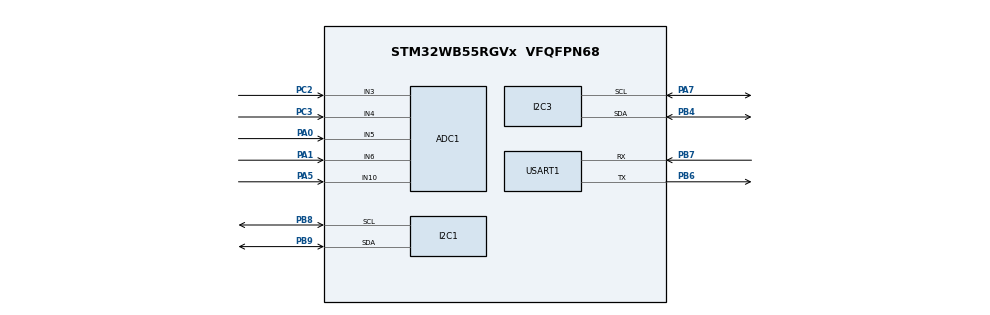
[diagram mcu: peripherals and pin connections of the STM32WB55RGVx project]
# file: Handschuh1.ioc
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ADC1.Channel-0\#ChannelRegularConversion=ADC_CHANNEL_3
ADC1.Channel-1\#ChannelRegularConversion=ADC_CHANNEL_4
ADC1.Channel-2\#ChannelRegularConversion=ADC_CHANNEL_5
ADC1.Channel-3\#ChannelRegularConversion=ADC_CHANNEL_6
ADC1.Channel-4\#ChannelRegularConversion=ADC_CHANNEL_10
ADC1.ClockPrescaler=ADC_CLOCK_ASYNC_DIV128
ADC1.ContinuousConvMode=ENABLE
ADC1.DMAContinuousRequests=ENABLE
ADC1.EOCSelection=ADC_EOC_SEQ_CONV
ADC1.NbrOfConversion=5
ADC1.NbrOfConversionFlag=1
ADC1.OffsetNumber-0\#ChannelRegularConversion=ADC_OFFSET_NONE
ADC1.OffsetNumber-1\#ChannelRegularConversion=ADC_OFFSET_NONE
ADC1.OffsetNumber-2\#ChannelRegularConversion=ADC_OFFSET_NONE
ADC1.OffsetNumber-3\#ChannelRegularConversion=ADC_OFFSET_NONE
ADC1.OffsetNumber-4\#ChannelRegularConversion=ADC_OFFSET_NONE
ADC1.Overrun=ADC_OVR_DATA_OVERWRITTEN
ADC1.Rank-0\#ChannelRegularConversion=1
ADC1.Rank-1\#ChannelRegularConversion=2
ADC1.Rank-2\#ChannelRegularConversion=3
ADC1.Rank-3\#ChannelRegularConversion=4
ADC1.Rank-4\#ChannelRegularConversion=5
ADC1.SamplingTime-0\#ChannelRegularConversion=ADC_SAMPLETIME_640CYCLES_5
ADC1.SamplingTime-1\#ChannelRegularConversion=ADC_SAMPLETIME_640CYCLES_5
ADC1.SamplingTime-2\#ChannelRegularConversion=ADC_SAMPLETIME_640CYCLES_5
ADC1.SamplingTime-3\#ChannelRegularConversion=ADC_SAMPLETIME_640CYCLES_5
ADC1.SamplingTime-4\#ChannelRegularConversion=ADC_SAMPLETIME_640CYCLES_5
ADC1.master=1
Dma.ADC1.0.Direction=DMA_PERIPH_TO_MEMORY
Dma.ADC1.0.EventEnable=DISABLE
Dma.ADC1.0.Instance=DMA1_Channel2
Dma.ADC1.0.MemDataAlignment=DMA_MDATAALIGN_HALFWORD
Dma.ADC1.0.MemInc=DMA_MINC_ENABLE
Dma.ADC1.0.Mode=DMA_CIRCULAR
Dma.ADC1.0.PeriphDataAlignment=DMA_PDATAALIGN_HALFWORD
Dma.ADC1.0.PeriphInc=DMA_PINC_DISABLE
Dma.ADC1.0.Polarity=HAL_DMAMUX_REQ_GEN_RISING
Dma.ADC1.0.Priority=DMA_PRIORITY_LOW
Dma.ADC1.0.RequestNumber=1
Dma.ADC1.0.SignalID=NONE
Dma.ADC1.0.SyncEnable=DISABLE
Dma.ADC1.0.SyncPolarity=HAL_DMAMUX_SYNC_NO_EVENT
Dma.ADC1.0.SyncRequestNumber=1
Dma.ADC1.0.SyncSignalID=NONE
Dma.Request0=ADC1
Dma.Request1=USART1_TX
Dma.USART1_TX.1.Direction=DMA_MEMORY_TO_PERIPH
Dma.USART1_TX.1.EventEnable=DISABLE
Dma.USART1_TX.1.Instance=DMA1_Channel1
Dma.USART1_TX.1.MemDataAlignment=DMA_MDATAALIGN_BYTE
Dma.USART1_TX.1.MemInc=DMA_MINC_ENABLE
Dma.USART1_TX.1.Mode=DMA_NORMAL
Dma.USART1_TX.1.PeriphDataAlignment=DMA_PDATAALIGN_BYTE
Dma.USART1_TX.1.PeriphInc=DMA_PINC_DISABLE
Dma.USART1_TX.1.Polarity=HAL_DMAMUX_REQ_GEN_RISING
Dma.USART1_TX.1.Priority=DMA_PRIORITY_LOW
Dma.USART1_TX.1.RequestNumber=1
Dma.USART1_TX.1.SignalID=NONE
Dma.USART1_TX.1.SyncEnable=DISABLE
Dma.USART1_TX.1.SyncPolarity=HAL_DMAMUX_SYNC_NO_EVENT
Dma.USART1_TX.1.SyncRequestNumber=1
Dma.USART1_TX.1.SyncSignalID=NONE
I2C1.Timing=0x00B07CB4
I2C3.Speed=100
I2C3.Timing=0x00B07CB4
Mcu.Family=STM32WB
Mcu.Name=STM32WB55RGVx
Mcu.Package=VFQFPN68
NVIC.ADC1_IRQn=true\:1\:0\:true\:false\:true\:true\:true\:true
NVIC.DMA1_Channel1_IRQn=true\:15\:0\:true\:false\:true\:false\:true\:true
NVIC.DMA1_Channel2_IRQn=true\:0\:0\:false\:false\:true\:false\:true\:true
NVIC.HSEM_IRQn=true\:0\:0\:false\:false\:true\:false\:true\:true
NVIC.IPCC_C1_RX_IRQn=true\:0\:0\:false\:false\:true\:true\:true\:true
NVIC.IPCC_C1_TX_IRQn=true\:0\:0\:false\:false\:true\:true\:true\:true
NVIC.PriorityGroup=NVIC_PRIORITYGROUP_4
NVIC.RTC_WKUP_IRQn=true\:0\:0\:false\:false\:true\:true\:true\:true
NVIC.USART1_IRQn=true\:0\:0\:true\:false\:true\:true\:true\:true
OSC_IN.Mode=HSE-External-Oscillator
OSC_IN.Signal=RCC_OSC_IN
OSC_OUT.Mode=HSE-External-Oscillator
OSC_OUT.Signal=RCC_OSC_OUT
PA0.Signal=ADCx_IN5
PA1.Signal=ADCx_IN6
PA5.Signal=ADCx_IN10
PA7.Mode=I2C
PA7.Signal=I2C3_SCL
PB4.Mode=I2C
PB4.Signal=I2C3_SDA
PB6.Mode=Asynchronous
PB6.Signal=USART1_TX
PB7.Mode=Asynchronous
PB7.Signal=USART1_RX
PB8.Mode=I2C
PB8.Signal=I2C1_SCL
PB9.Mode=I2C
PB9.Signal=I2C1_SDA
PC2.Signal=ADCx_IN3
PC3.Signal=ADCx_IN4
ProjectManager.HeapSize=0x200
ProjectManager.StackSize=0x400
ProjectManager.TargetToolchain=STM32CubeIDE
RCC.ADCFreq_Value=48000000
RCC.AHBFreq_Value=32000000
RCC.APB1Freq_Value=32000000
RCC.APB1TimFreq_Value=32000000
RCC.APB2Freq_Value=32000000
RCC.APB2TimFreq_Value=32000000
RCC.APB3Freq_Value=16000000
RCC.CortexFreq_Value=32000000
RCC.HCLKFreq_Value=32000000
RCC.HSE_VALUE=32000000
RCC.HSI48_VALUE=48000000
RCC.HSI_VALUE=16000000
RCC.LSE_VALUE=32768
RCC.MSIClockRange=RCC_MSIRANGE_10
RCC.PLLM=RCC_PLLM_DIV2
RCC.PLLSAI1N=6
RCC.SYSCLKFreq_VALUE=32000000
RCC.USBFreq_Value=48000000
RCC.VCOOutputFreq_Value=128000000
RF1.Mode=RF1_Activate
RF1.Signal=RF_RF1
SH.ADCx_IN10.0=ADC1_IN10,IN10-Single-Ended
SH.ADCx_IN3.0=ADC1_IN3,IN3-Single-Ended
SH.ADCx_IN4.0=ADC1_IN4,IN4-Single-Ended
SH.ADCx_IN5.0=ADC1_IN5,IN5-Single-Ended
SH.ADCx_IN6.0=ADC1_IN6,IN6-Single-Ended
STM32_WPAN.CFG_LSCLK_LSE=0
STM32_WPAN.CUSTOM_P2P_SERVER=Disabled
STM32_WPAN.CUSTOM_TEMPLATE=Enabled
STM32_WPAN.INCLUDE_AD_TYPE_COMPLETE_LOCAL_NAME=1
STM32_WPAN.NUMBER_OF_SERVICES=1
STM32_WPAN.SERVICE1_CHAR1_GATT_NOTIFY_READ_REQ_AND_WAIT_FOR_APPL_RESP=\ 
STM32_WPAN.SERVICE1_CHAR1_GATT_NOTIFY_WRITE_REQ_AND_WAIT_FOR_APPL_RESP=\ 
STM32_WPAN.SERVICE1_CHAR1_LONG_NAME=charWrite
STM32_WPAN.SERVICE1_CHAR1_PROP_WRITE=CHAR_PROP_WRITE
STM32_WPAN.SERVICE1_CHAR1_SHORT_NAME=charWrite
STM32_WPAN.SERVICE1_CHAR2_ATTR_PERMISSION_AUTHEN_WRITE=\ 
STM32_WPAN.SERVICE1_CHAR2_LONG_NAME=writeChar
STM32_WPAN.SERVICE1_CHAR2_PROP_NOTIFY=CHAR_PROP_NOTIFY
STM32_WPAN.SERVICE1_CHAR2_SHORT_NAME=writeChar
STM32_WPAN.SERVICE1_CHAR2_UUID=00 01
STM32_WPAN.SERVICE1_CHAR2_VALUE_LENGTH=86
STM32_WPAN.SERVICE1_LONG_NAME=BlService
STM32_WPAN.SERVICE1_NUMBER_OF_CHARACTERISTICS=2
STM32_WPAN.SERVICE1_SHORT_NAME=BlService
USART1.VirtualMode-Asynchronous=VM_ASYNC
VP_HSEM_VS_HSEM.Mode=HSEM_Activate
VP_IPCC_VS_IPCC.Mode=IPCC_Activate
VP_MEMORYMAP_VS_MEMORYMAP.Mode=CurAppReg
VP_RTC_VS_RTC_Activate.Mode=RTC_Enabled
VP_RTC_VS_RTC_WakeUp_intern.Mode=WakeUp
VP_SEQUENCER_VS_SEQUENCER.Mode=SEQUENCER_Enabled
VP_STM32_WPAN_VS_BLE_HOST.Mode=STM32_WPAN_Enabled
VP_TINY_LPM_VS_TINY_LPM.Mode=TINY_LPM_Enabled
board=custom

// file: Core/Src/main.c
/* USER CODE BEGIN Header */
/**
  ******************************************************************************
  * @file           : main.c
  * @brief          : Main program body
  ******************************************************************************
  * @attention
  *
  * Copyright (c) 2026 STMicroelectronics.
  * All rights reserved.
  *
  * This software is licensed under terms that can be found in the LICENSE file
  * in the root directory of this software component.
  * If no LICENSE file comes with this software, it is provided AS-IS.
  *
  ******************************************************************************
  */
/* USER CODE END Header */
#include "main.h"

/* USER CODE BEGIN Includes */
#include "bno055_stm32/bno055_stm32.h"
/* USER CODE END Includes */

ADC_HandleTypeDef hadc1;
DMA_HandleTypeDef hdma_adc1;

I2C_HandleTypeDef hi2c1;
I2C_HandleTypeDef hi2c3;

IPCC_HandleTypeDef hipcc;

RTC_HandleTypeDef hrtc;

UART_HandleTypeDef huart1;
DMA_HandleTypeDef hdma_usart1_tx;

/* USER CODE BEGIN PV */

volatile uint16_t adc_values[5];

bno055_dev_t bno1 = {&hi2c1, 0x28};
bno055_dev_t bno2 = {&hi2c1, 0x29};
bno055_dev_t bno3 = {&hi2c3, 0x28};
bno055_dev_t bno4 = {&hi2c3, 0x29};

/* USER CODE END PV */

void SystemClock_Config(void);
void PeriphCommonClock_Config(void);
static void MX_GPIO_Init(void);
static void MX_DMA_Init(void);
static void MX_IPCC_Init(void);
static void MX_RTC_Init(void);
static void MX_ADC1_Init(void);
static void MX_I2C3_Init(void);
static void MX_USART1_UART_Init(void);
static void MX_I2C1_Init(void);
static void MX_RF_Init(void);
/* USER CODE BEGIN PFP */
int _write(int file, char *ptr, int len) {
	HAL_UART_Transmit(&huart1, (uint8_t*) ptr, len, HAL_MAX_DELAY);
	return len;
}

int __io_putchar(int ch)
{
    HAL_UART_Transmit(&huart1, (uint8_t *)&ch, 1, HAL_MAX_DELAY);
    return ch;
}

/* USER CODE END PFP */

int main(void)
{

  /* MCU Configuration--------------------------------------------------------*/

  /* Reset of all peripherals, Initializes the Flash interface and the Systick. */
  HAL_Init();
  /* Config code for STM32_WPAN (HSE Tuning must be done before system clock configuration) */
  MX_APPE_Config();

  /* Configure the system clock */
  SystemClock_Config();

  /* Configure the peripherals common clocks */
  PeriphCommonClock_Config();

  /* IPCC initialisation */
  MX_IPCC_Init();

  /* Initialize all configured peripherals */
  MX_GPIO_Init();
  MX_DMA_Init();
  MX_RTC_Init();
  MX_ADC1_Init();
  MX_I2C3_Init();
  MX_USART1_UART_Init();
  MX_I2C1_Init();
  MX_RF_Init();
  /* USER CODE BEGIN 2 */

  if (HAL_I2C_IsDeviceReady(&hi2c3, 0x28 << 1, 3, 100) == HAL_OK)
	printf("Slave antwortet\r\n");
  else
	printf("Kein Geraet gefunden\r\n");

  if (HAL_I2C_IsDeviceReady(&hi2c1, 0x28 << 1, 3, 100) == HAL_OK)
	printf("Slave antwortet\r\n");
  else
	printf("Kein Geraet gefunden\r\n");

  if (HAL_I2C_IsDeviceReady(&hi2c3, 0x29 << 1, 3, 100) == HAL_OK)
	printf("Slave antwortet\r\n");
  else
	printf("Kein Geraet gefunden\r\n");

  if (HAL_I2C_IsDeviceReady(&hi2c1, 0x29 << 1, 3, 100) == HAL_OK)
	printf("Slave antwortet\r\n");
  else
	printf("Kein Geraet gefunden\r\n");

  //bno055_init_dev(&bno1);
  bno055_init_dev(&bno3);

  HAL_ADC_Start_DMA(&hadc1, (uint32_t*) adc_values, 5);

  /* USER CODE END 2 */

  /* Init code for STM32_WPAN */
  MX_APPE_Init();

  /* Infinite loop */
  while (1)
  {
    MX_APPE_Process();

  }
}

void SystemClock_Config(void)
{
  RCC_OscInitTypeDef RCC_OscInitStruct = {0};
  RCC_ClkInitTypeDef RCC_ClkInitStruct = {0};

  /** Macro to configure the PLL multiplication factor
  */
  __HAL_RCC_PLL_PLLM_CONFIG(RCC_PLLM_DIV2);

  /** Macro to configure the PLL clock source
  */
  __HAL_RCC_PLL_PLLSOURCE_CONFIG(RCC_PLLSOURCE_MSI);

  /** Configure the main internal regulator output voltage
  */
  __HAL_PWR_VOLTAGESCALING_CONFIG(PWR_REGULATOR_VOLTAGE_SCALE1);

  /** Initializes the RCC Oscillators according to the specified parameters
  * in the RCC_OscInitTypeDef structure.
  */
  RCC_OscInitStruct.OscillatorType = RCC_OSCILLATORTYPE_HSI|RCC_OSCILLATORTYPE_LSI1
                              |RCC_OSCILLATORTYPE_HSE|RCC_OSCILLATORTYPE_MSI;
  RCC_OscInitStruct.HSEState = RCC_HSE_ON;
  RCC_OscInitStruct.HSIState = RCC_HSI_ON;
  RCC_OscInitStruct.MSIState = RCC_MSI_ON;
  RCC_OscInitStruct.HSICalibrationValue = RCC_HSICALIBRATION_DEFAULT;
  RCC_OscInitStruct.MSICalibrationValue = RCC_MSICALIBRATION_DEFAULT;
  RCC_OscInitStruct.MSIClockRange = RCC_MSIRANGE_10;
  RCC_OscInitStruct.LSIState = RCC_LSI_ON;
  RCC_OscInitStruct.PLL.PLLState = RCC_PLL_NONE;
  if (HAL_RCC_OscConfig(&RCC_OscInitStruct) != HAL_OK)
  {
    Error_Handler();
  }

  /** Configure the SYSCLKSource, HCLK, PCLK1 and PCLK2 clocks dividers
  */
  RCC_ClkInitStruct.ClockType = RCC_CLOCKTYPE_HCLK4|RCC_CLOCKTYPE_HCLK2
                              |RCC_CLOCKTYPE_HCLK|RCC_CLOCKTYPE_SYSCLK
                              |RCC_CLOCKTYPE_PCLK1|RCC_CLOCKTYPE_PCLK2;
  RCC_ClkInitStruct.SYSCLKSource = RCC_SYSCLKSOURCE_MSI;
  RCC_ClkInitStruct.AHBCLKDivider = RCC_SYSCLK_DIV1;
  RCC_ClkInitStruct.APB1CLKDivider = RCC_HCLK_DIV1;
  RCC_ClkInitStruct.APB2CLKDivider = RCC_HCLK_DIV1;
  RCC_ClkInitStruct.AHBCLK2Divider = RCC_SYSCLK_DIV1;
  RCC_ClkInitStruct.AHBCLK4Divider = RCC_SYSCLK_DIV1;

  if (HAL_RCC_ClockConfig(&RCC_ClkInitStruct, FLASH_LATENCY_1) != HAL_OK)
  {
    Error_Handler();
  }
}

void PeriphCommonClock_Config(void)
{
  RCC_PeriphCLKInitTypeDef PeriphClkInitStruct = {0};

  /** Initializes the peripherals clock
  */
  PeriphClkInitStruct.PeriphClockSelection = RCC_PERIPHCLK_SMPS|RCC_PERIPHCLK_RFWAKEUP;
  PeriphClkInitStruct.RFWakeUpClockSelection = RCC_RFWKPCLKSOURCE_HSE_DIV1024;
  PeriphClkInitStruct.SmpsClockSelection = RCC_SMPSCLKSOURCE_HSI;
  PeriphClkInitStruct.SmpsDivSelection = RCC_SMPSCLKDIV_RANGE1;

  if (HAL_RCCEx_PeriphCLKConfig(&PeriphClkInitStruct) != HAL_OK)
  {
    Error_Handler();
  }
}

static void MX_ADC1_Init(void)
{

  ADC_ChannelConfTypeDef sConfig = {0};

  /** Common config
  */
  hadc1.Instance = ADC1;
  hadc1.Init.ClockPrescaler = ADC_CLOCK_ASYNC_DIV128;
  hadc1.Init.Resolution = ADC_RESOLUTION_12B;
  hadc1.Init.DataAlign = ADC_DATAALIGN_RIGHT;
  hadc1.Init.ScanConvMode = ADC_SCAN_ENABLE;
  hadc1.Init.EOCSelection = ADC_EOC_SEQ_CONV;
  hadc1.Init.LowPowerAutoWait = DISABLE;
  hadc1.Init.ContinuousConvMode = ENABLE;
  hadc1.Init.NbrOfConversion = 5;
  hadc1.Init.DiscontinuousConvMode = DISABLE;
  hadc1.Init.ExternalTrigConv = ADC_SOFTWARE_START;
  hadc1.Init.ExternalTrigConvEdge = ADC_EXTERNALTRIGCONVEDGE_NONE;
  hadc1.Init.DMAContinuousRequests = ENABLE;
  hadc1.Init.Overrun = ADC_OVR_DATA_OVERWRITTEN;
  hadc1.Init.OversamplingMode = DISABLE;
  if (HAL_ADC_Init(&hadc1) != HAL_OK)
  {
    Error_Handler();
  }

  /** Configure Regular Channel
  */
  sConfig.Channel = ADC_CHANNEL_3;
  sConfig.Rank = ADC_REGULAR_RANK_1;
  sConfig.SamplingTime = ADC_SAMPLETIME_640CYCLES_5;
  sConfig.SingleDiff = ADC_SINGLE_ENDED;
  sConfig.OffsetNumber = ADC_OFFSET_NONE;
  sConfig.Offset = 0;
  if (HAL_ADC_ConfigChannel(&hadc1, &sConfig) != HAL_OK)
  {
    Error_Handler();
  }

  /** Configure Regular Channel
  */
  sConfig.Channel = ADC_CHANNEL_4;
  sConfig.Rank = ADC_REGULAR_RANK_2;
  if (HAL_ADC_ConfigChannel(&hadc1, &sConfig) != HAL_OK)
  {
    Error_Handler();
  }

  /** Configure Regular Channel
  */
  sConfig.Channel = ADC_CHANNEL_5;
  sConfig.Rank = ADC_REGULAR_RANK_3;
  if (HAL_ADC_ConfigChannel(&hadc1, &sConfig) != HAL_OK)
  {
    Error_Handler();
  }

  /** Configure Regular Channel
  */
  sConfig.Channel = ADC_CHANNEL_6;
  sConfig.Rank = ADC_REGULAR_RANK_4;
  if (HAL_ADC_ConfigChannel(&hadc1, &sConfig) != HAL_OK)
  {
    Error_Handler();
  }

  /** Configure Regular Channel
  */
  sConfig.Channel = ADC_CHANNEL_10;
  sConfig.Rank = ADC_REGULAR_RANK_5;
  if (HAL_ADC_ConfigChannel(&hadc1, &sConfig) != HAL_OK)
  {
    Error_Handler();
  }

}

static void MX_I2C1_Init(void)
{

  hi2c1.Instance = I2C1;
  hi2c1.Init.Timing = 0x00B07CB4;
  hi2c1.Init.OwnAddress1 = 0;
  hi2c1.Init.AddressingMode = I2C_ADDRESSINGMODE_7BIT;
  hi2c1.Init.DualAddressMode = I2C_DUALADDRESS_DISABLE;
  hi2c1.Init.OwnAddress2 = 0;
  hi2c1.Init.OwnAddress2Masks = I2C_OA2_NOMASK;
  hi2c1.Init.GeneralCallMode = I2C_GENERALCALL_DISABLE;
  hi2c1.Init.NoStretchMode = I2C_NOSTRETCH_DISABLE;
  if (HAL_I2C_Init(&hi2c1) != HAL_OK)
  {
    Error_Handler();
  }

  /** Configure Analogue filter
  */
  if (HAL_I2CEx_ConfigAnalogFilter(&hi2c1, I2C_ANALOGFILTER_ENABLE) != HAL_OK)
  {
    Error_Handler();
  }

  /** Configure Digital filter
  */
  if (HAL_I2CEx_ConfigDigitalFilter(&hi2c1, 0) != HAL_OK)
  {
    Error_Handler();
  }

}

static void MX_I2C3_Init(void)
{

  hi2c3.Instance = I2C3;
  hi2c3.Init.Timing = 0x00B07CB4;
  hi2c3.Init.OwnAddress1 = 0;
  hi2c3.Init.AddressingMode = I2C_ADDRESSINGMODE_7BIT;
  hi2c3.Init.DualAddressMode = I2C_DUALADDRESS_DISABLE;
  hi2c3.Init.OwnAddress2 = 0;
  hi2c3.Init.OwnAddress2Masks = I2C_OA2_NOMASK;
  hi2c3.Init.GeneralCallMode = I2C_GENERALCALL_DISABLE;
  hi2c3.Init.NoStretchMode = I2C_NOSTRETCH_DISABLE;
  if (HAL_I2C_Init(&hi2c3) != HAL_OK)
  {
    Error_Handler();
  }

  /** Configure Analogue filter
  */
  if (HAL_I2CEx_ConfigAnalogFilter(&hi2c3, I2C_ANALOGFILTER_ENABLE) != HAL_OK)
  {
    Error_Handler();
  }

  /** Configure Digital filter
  */
  if (HAL_I2CEx_ConfigDigitalFilter(&hi2c3, 0) != HAL_OK)
  {
    Error_Handler();
  }

}

static void MX_IPCC_Init(void)
{

  hipcc.Instance = IPCC;
  if (HAL_IPCC_Init(&hipcc) != HAL_OK)
  {
    Error_Handler();
  }

}

static void MX_RF_Init(void)
{

}

static void MX_RTC_Init(void)
{

  /** Initialize RTC Only
  */
  hrtc.Instance = RTC;
  hrtc.Init.HourFormat = RTC_HOURFORMAT_24;
  hrtc.Init.AsynchPrediv = CFG_RTC_ASYNCH_PRESCALER;
  hrtc.Init.SynchPrediv = CFG_RTC_SYNCH_PRESCALER;
  hrtc.Init.OutPut = RTC_OUTPUT_DISABLE;
  hrtc.Init.OutPutPolarity = RTC_OUTPUT_POLARITY_HIGH;
  hrtc.Init.OutPutType = RTC_OUTPUT_TYPE_OPENDRAIN;
  hrtc.Init.OutPutRemap = RTC_OUTPUT_REMAP_NONE;
  if (HAL_RTC_Init(&hrtc) != HAL_OK)
  {
    Error_Handler();
  }

  /** Enable the WakeUp
  */
  if (HAL_RTCEx_SetWakeUpTimer_IT(&hrtc, 0, RTC_WAKEUPCLOCK_RTCCLK_DIV16) != HAL_OK)
  {
    Error_Handler();
  }

}

static void MX_USART1_UART_Init(void)
{

  huart1.Instance = USART1;
  huart1.Init.BaudRate = 115200;
  huart1.Init.WordLength = UART_WORDLENGTH_8B;
  huart1.Init.StopBits = UART_STOPBITS_1;
  huart1.Init.Parity = UART_PARITY_NONE;
  huart1.Init.Mode = UART_MODE_TX_RX;
  huart1.Init.HwFlowCtl = UART_HWCONTROL_NONE;
  huart1.Init.OverSampling = UART_OVERSAMPLING_16;
  huart1.Init.OneBitSampling = UART_ONE_BIT_SAMPLE_DISABLE;
  huart1.Init.ClockPrescaler = UART_PRESCALER_DIV1;
  huart1.AdvancedInit.AdvFeatureInit = UART_ADVFEATURE_NO_INIT;
  if (HAL_UART_Init(&huart1) != HAL_OK)
  {
    Error_Handler();
  }
  if (HAL_UARTEx_SetTxFifoThreshold(&huart1, UART_TXFIFO_THRESHOLD_1_8) != HAL_OK)
  {
    Error_Handler();
  }
  if (HAL_UARTEx_SetRxFifoThreshold(&huart1, UART_RXFIFO_THRESHOLD_1_8) != HAL_OK)
  {
    Error_Handler();
  }
  if (HAL_UARTEx_DisableFifoMode(&huart1) != HAL_OK)
  {
    Error_Handler();
  }

}

static void MX_DMA_Init(void)
{

  /* DMA controller clock enable */
  __HAL_RCC_DMAMUX1_CLK_ENABLE();
  __HAL_RCC_DMA1_CLK_ENABLE();

  /* DMA interrupt init */
  /* DMA1_Channel1_IRQn interrupt configuration */
  HAL_NVIC_SetPriority(DMA1_Channel1_IRQn, 15, 0);
  HAL_NVIC_EnableIRQ(DMA1_Channel1_IRQn);
  /* DMA1_Channel2_IRQn interrupt configuration */
  HAL_NVIC_SetPriority(DMA1_Channel2_IRQn, 0, 0);
  HAL_NVIC_EnableIRQ(DMA1_Channel2_IRQn);

}

static void MX_GPIO_Init(void)
{

  /* GPIO Ports Clock Enable */
  __HAL_RCC_GPIOB_CLK_ENABLE();
  __HAL_RCC_GPIOC_CLK_ENABLE();
  __HAL_RCC_GPIOA_CLK_ENABLE();

}

void Error_Handler(void)
{
  __disable_irq();
  while (1)
  {
  }
}
